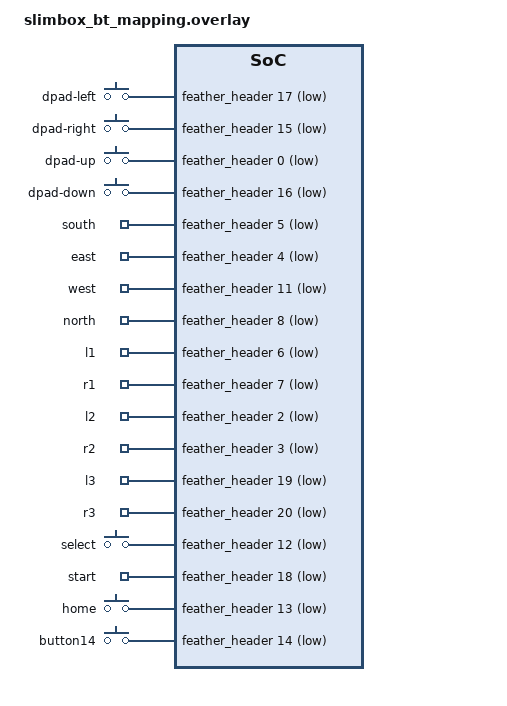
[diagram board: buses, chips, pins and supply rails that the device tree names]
/ {
    gamepad-buttons {
        /* Feather pin numbers start at A0 and go counter-clockwise around the board. */
        compatible = "gpio-keys";
        dpad-left { gpios = <&feather_header 17 (GPIO_PULL_UP | GPIO_ACTIVE_LOW)>; };
        dpad-right { gpios = <&feather_header 15 (GPIO_PULL_UP | GPIO_ACTIVE_LOW)>; };
        dpad-up { gpios = <&feather_header 0 (GPIO_PULL_UP | GPIO_ACTIVE_LOW)>; };
        dpad-down { gpios = <&feather_header 16 (GPIO_PULL_UP | GPIO_ACTIVE_LOW)>; };
        south { gpios = <&feather_header 5 (GPIO_PULL_UP | GPIO_ACTIVE_LOW)>; };
        east { gpios = <&feather_header 4 (GPIO_PULL_UP | GPIO_ACTIVE_LOW)>; };
        /* Pin 11 ("D2" on Feather nRF52840) is not guaranteed to be usable on every Feather. */
        west { gpios = <&feather_header 11 (GPIO_PULL_UP | GPIO_ACTIVE_LOW)>; };
        north { gpios = <&feather_header 8 (GPIO_PULL_UP | GPIO_ACTIVE_LOW)>; };
        l1 { gpios = <&feather_header 6 (GPIO_PULL_UP | GPIO_ACTIVE_LOW)>; };
        r1 { gpios = <&feather_header 7 (GPIO_PULL_UP | GPIO_ACTIVE_LOW)>; };
        l2 { gpios = <&feather_header 2 (GPIO_PULL_UP | GPIO_ACTIVE_LOW)>; };
        r2 { gpios = <&feather_header 3 (GPIO_PULL_UP | GPIO_ACTIVE_LOW)>; };
        l3 { gpios = <&feather_header 19 (GPIO_PULL_UP | GPIO_ACTIVE_LOW)>; };
        r3 { gpios = <&feather_header 20 (GPIO_PULL_UP | GPIO_ACTIVE_LOW)>; };
        select { gpios = <&feather_header 12 (GPIO_PULL_UP | GPIO_ACTIVE_LOW)>; };
        start { gpios = <&feather_header 18 (GPIO_PULL_UP | GPIO_ACTIVE_LOW)>; };
        home { gpios = <&feather_header 13 (GPIO_PULL_UP | GPIO_ACTIVE_LOW)>; };
        button14 { gpios = <&feather_header 14 (GPIO_PULL_UP | GPIO_ACTIVE_LOW)>; };
    };

    aliases {
        sys-button = "/gamepad-buttons/start";
    };
};
